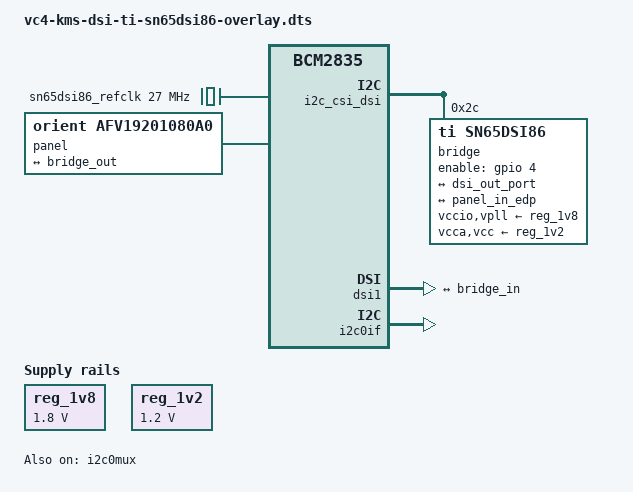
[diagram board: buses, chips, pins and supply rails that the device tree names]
/*
 * vc4-kms-dsi-sn65dsi8x-overlay.dts
 */

/dts-v1/;
/plugin/;
#include <dt-bindings/gpio/gpio.h>

/ {
	compatible = "brcm,bcm2835";
	fragment@0 {
		target-path = "/";
		__overlay__ {
			regulators {
				compatible = "simple-bus";
				#address-cells = <1>;
				#size-cells = <0>;

				reg_1v8: reg_1v8 {
					compatible = "regulator-fixed";
					regulator-name = "1V8";
					regulator-min-microvolt = <1800000>;
					regulator-max-microvolt = <1800000>;
					regulator-always-on;
				};

				reg_1v2: reg_1v2 {
					compatible = "regulator-fixed";
					regulator-name = "1V2";
					regulator-min-microvolt = <1200000>;
					regulator-max-microvolt = <1200000>;
					regulator-always-on;
				};

				sn65dsi86_refclk: sn65dsi86_refclk {
					compatible = "fixed-clock";
					#clock-cells = <0>;
					clock-frequency = <27000000>;
				};
			};
		};
	};

	fragment@1 {
		target-path = "/";
		__overlay__ {
			//#gpio-cells = <2>;
			status = "okay";

			panel: panel {
				//compatible = "dell,p2414h", "simple-panel";
				compatible = "orient,afv19201080a0", "simple-panel";

				port {
					panel_in_edp: endpoint {
						remote-endpoint = <&bridge_out>;
					};
				};
			};
		};
	};

	fragment@2 {
		target = <&i2c_csi_dsi>;
		__overlay__ {
			#gpio-cells = <2>;
			#address-cells = <1>;
			#size-cells = <0>;
			status = "okay";

			bridge@2c {
				compatible = "ti,sn65dsi86";
				reg = <0x2c>;
        
				enable-gpios = <&gpio 4 0>;
				
				vccio-supply = <&reg_1v8>;
				vcca-supply = <&reg_1v2>;
				vpll-supply = <&reg_1v8>;
				vcc-supply = <&reg_1v2>;
				
				clock-names = "refclk";
				clocks = <&sn65dsi86_refclk>;

				ports {
					#address-cells = <1>;
					#size-cells = <0>;

					port@0 {
						reg = <0>;
						bridge_in: endpoint {
							remote-endpoint = <&dsi_out_port>;
						};
					};

					port@1 {
						reg = <1>;
						bridge_out: endpoint {
							//data-lanes = <0 1 2 3>;
							data-lanes = <0 1 2>;
							remote-endpoint = <&panel_in_edp>;
						};
					};
				};
			};
		};
	};

	fragment@5 {
		target = <&dsi1>;
		__overlay__ {
			#address-cells = <1>;
			#size-cells = <0>;
			status = "okay";
			port {
				dsi_out_port: endpoint {
					remote-endpoint = <&bridge_in>;
					data-lanes = <0 1 2>;
				};
			};
		};
	};

	fragment@6 {
		target = <&i2c0if>;
		__overlay__ {
			status = "okay";
		};
	};

	fragment@7 {
		target = <&i2c0mux>;
		__overlay__ {
			status = "okay";
		};
	};
};
